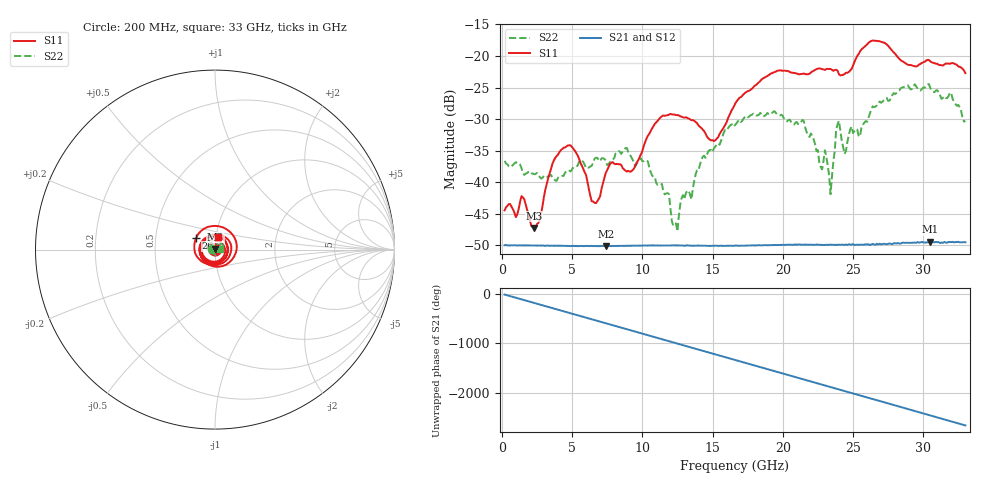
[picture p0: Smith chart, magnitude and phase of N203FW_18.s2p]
# GHZ S RI R 50
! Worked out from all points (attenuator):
!   329 points, 200 MHz to 33 GHz, reference 50 ohm
!   highest |S21| = -49.42 dB at 30.5 GHz (marker M1); lowest = -50.1 dB at 7.4 GHz (marker M2)
!   lowest |S11| = -47.2 dB at 2.3 GHz (marker M3), VSWR 1.01, Z = 50.1 + j0.414 ohm
!   |S11| at or under -10 dB: start of sweep to end of sweep
!   |S22| runs from -47.8 to -24.4 dB; largest |S21 - S12| = 8.8e-05
!   S11 on the Smith chart (normalised r, x): 200 MHz: 1.01, +0.00; 26 GHz: 0.80, +0.11; 33 GHz: 1.03, +0.15
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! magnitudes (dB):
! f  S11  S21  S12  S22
! 200 MHz  -44.4  -50.0  -49.9  -36.6
! 1.4 GHz  -42.2  -50.0  -50.0  -37.7
! 2.3 GHz  -47.2  -50.0  -50.0  -38.7
! 4.1 GHz  -35.2  -50.0  -50.0  -39.1
! 5.7 GHz  -37.4  -50.1  -50.1  -36.6
! 6.6 GHz  -43.2  -50.1  -50.1  -36.3
! 7.4 GHz  -38.5  -50.1  -50.1  -36.5
! 9.3 GHz  -38.1  -50.0  -50.0  -36.4
! 11.2 GHz  -30.0  -50.0  -50.0  -40.3
! 12.5 GHz  -29.3  -50.0  -50.0  -47.8
! 12.8 GHz  -29.6  -50.0  -50.0  -42.5
! 15.1 GHz  -33.5  -50.0  -50.0  -34.6
! 16.6 GHz  -27.6  -50.0  -50.0  -30.9
! 22.1 GHz  -22.4  -49.9  -49.9  -32.6
! 23 GHz  -22.2  -49.9  -49.9  -34.9
! 23.4 GHz  -22.1  -49.9  -49.9  -41.9
! 24 GHz  -22.9  -49.9  -49.9  -30.3
! 24.4 GHz  -22.9  -49.9  -49.8  -35.5
! 26 GHz  -18.2  -49.9  -49.8  -30.4
! 27.6 GHz  -18.7  -49.7  -49.7  -27.1
! 30.5 GHz  -20.8  -49.4  -49.5  -25.0
! 33 GHz  -22.7  -49.5  -49.5  -30.3
